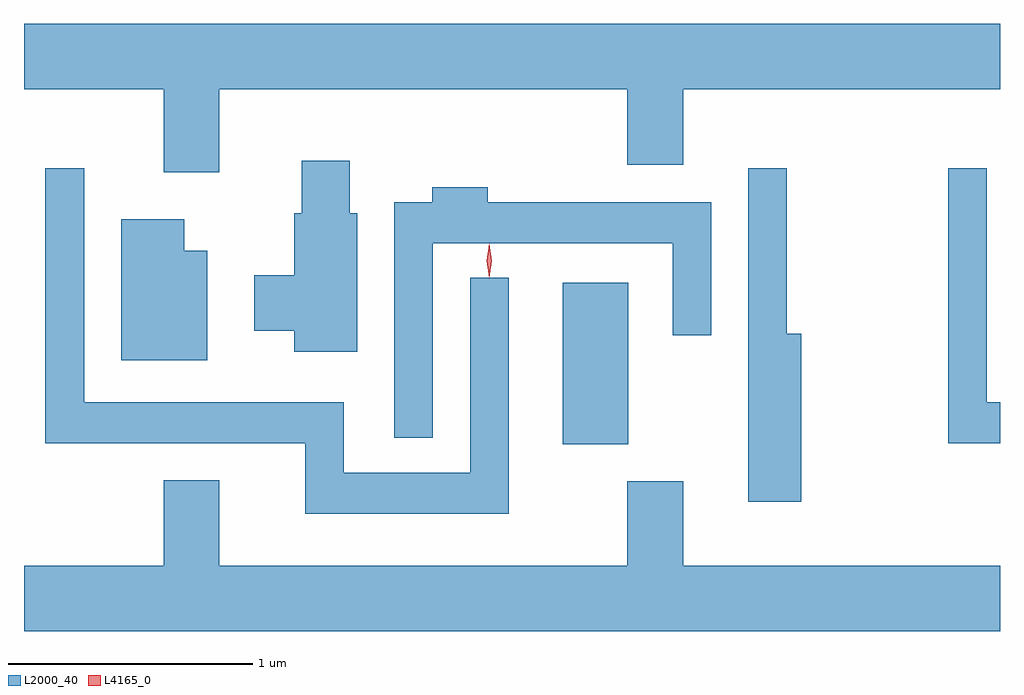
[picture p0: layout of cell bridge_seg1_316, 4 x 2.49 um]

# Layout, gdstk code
import gdstk
lib = gdstk.Library(unit=1e-6, precision=1e-09)
def R(c, l, rs):  # rectangles x0, y0, x1, y1
    for r in rs: c.add(gdstk.rectangle(r[:2], r[2:], *l))
def P(c, l, *ps):  # polygons
    for p in ps: c.add(gdstk.Polygon(p, *l))
L2000_40 = (2000, 40)
L4165_0 = (4165, 0)

bridge_seg1_316 = lib.new_cell('bridge_seg1_316')
R(bridge_seg1_316, L2000_40, [(905.676,880.361,905.944,881.024)])
P(bridge_seg1_316, L2000_40, [(904.269,881.816),(905.941,881.816),(905.941,881.506),(906.169,881.506),(906.169,881.816),(907.468,881.816),(907.468,882.084),(903.468,882.084),(903.468,881.816),(904.041,881.816),(904.041,881.476),(904.269,881.476)],
  [(904.834,881.309),(904.804,881.309),(904.804,881.524),(904.606,881.524),(904.606,881.309),(904.576,881.309),(904.576,881.054),(904.411,881.054),(904.411,880.826),(904.576,880.826),(904.576,880.741),(904.834,880.741)],
  [(905.454,881.043),(905.296,881.043),(905.296,880.244),(904.779,880.244),(904.779,880.534),(903.714,880.534),(903.714,881.493),(903.556,881.493),(903.556,880.366),(904.621,880.366),(904.621,880.076),(905.454,880.076)],
  [(906.654,880.814),(906.594,880.814),(906.594,881.493),(906.436,881.493),(906.436,880.126),(906.654,880.126)],
  [(907.468,880.534),(907.414,880.534),(907.414,881.493),(907.256,881.493),(907.256,880.366),(907.468,880.366)],
  [(905.144,881.186),(906.126,881.186),(906.126,880.808),(906.284,880.808),(906.284,881.354),(905.369,881.354),(905.369,881.414),(905.141,881.414),(905.141,881.354),(904.986,881.354),(904.986,880.388),(905.144,880.388)],
  [(904.219,881.154),(904.124,881.154),(904.124,881.284),(903.866,881.284),(903.866,880.706),(904.219,880.706)],
  [(907.468,879.864),(906.169,879.864),(906.169,880.209),(905.941,880.209),(905.941,879.864),(904.269,879.864),(904.269,880.214),(904.041,880.214),(904.041,879.864),(903.468,879.864),(903.468,879.596),(907.468,879.596)])
P(bridge_seg1_316, L4165_0, [(905.374,881.047),(905.364,881.114),(905.374,881.18),(905.374,881.18),(905.375,881.18),(905.384,881.114),(905.375,881.047),(905.375,881.047)],
  [(905.374,881.044),(905.365,881.114),(905.374,881.183),(905.375,881.183),(905.375,881.183),(905.385,881.114),(905.375,881.044),(905.375,881.044)])

lib.write_gds('bridge_seg1_316.gds')
